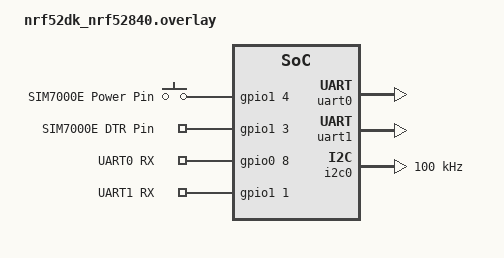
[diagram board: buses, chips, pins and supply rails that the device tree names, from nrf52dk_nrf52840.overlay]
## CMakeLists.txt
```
# SPDX-License-Identifier: Apache-2.0

cmake_minimum_required(VERSION 3.20.0)

find_package(Zephyr REQUIRED HINTS $ENV{ZEPHYR_BASE})

project(echo_bot)

target_include_directories(app PRIVATE "include")

if (CONFIG_UART_0_ENABLE OR CONFIG_UART_1_ENABLE)
    target_sources(app PRIVATE 
        "include/uart/uart.hpp"
        "src/uart/uart.cpp")
endif()

if(CONFIG_UART_0_ENABLE)
    target_sources(app PRIVATE 
        "src/uart/uart0.cpp" 
        "include/uart/uart0.hpp")
endif()

if(CONFIG_UART_1_ENABLE)
    target_sources(app PRIVATE 
        "src/uart/uart1.cpp" 
        "include/uart/uart1.hpp")
endif()


target_sources(app PRIVATE
    "src/memory_retention/retained.c"
    "include/memory_retention/retained.h"

    "src/main.cpp"
)
```

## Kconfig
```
# Copyright (c) 2021 Nordic Semiconductor ASA
# SPDX-License-Identifier: Apache-2.0

mainmenu "echo_bot_demo"

choice
	prompt "Use retention"
	optional

config APP_USE_NRF_RETENTION
	bool "Use state retention in system off using nRF POWER"
	depends on SOC_COMPATIBLE_NRF52X && CRC
	help
	  On some Nordic chips this application supports retaining
	  memory while in system off using POWER peripheral.
	  Select this to enable the feature.

config APP_USE_RETAINED_MEM
	bool "Use state retention in system off using retained_mem driver"
	depends on RETAINED_MEM

endchoice


config UART_1_ENABLE
    bool "Enable UART 1 driver"
    depends on UART_INTERRUPT_DRIVEN && UART_USE_RUNTIME_CONFIGURE && GPIO && PM_DEVICE && POLL
    help
      Enable the UART 1 driver for communication. This option is only
      available if both interrupt-driven UART and runtime configuration
      for UART are enabled.

config UART_0_ENABLE
    bool "Enable UART 0 driver"
    depends on UART_INTERRUPT_DRIVEN && UART_USE_RUNTIME_CONFIGURE && GPIO && PM_DEVICE && POLL
    help
      Enable the UART 0 driver for communication. This option is only
      available if both interrupt-driven UART and runtime configuration
      for UART are enabled.

source "Kconfig.zephyr"
```

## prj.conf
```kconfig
# configure language supprot and functions
CONFIG_CPP=y
CONFIG_REQUIRES_FULL_LIBCPP=y
CONFIG_STD_CPP20=y
CONFIG_REQUIRES_FULL_LIBC=y

CONFIG_SERIAL=y

# configuring uart
CONFIG_UART_0_ENABLE=y
CONFIG_UART_1_ENABLE=y
CONFIG_UART_INTERRUPT_DRIVEN=y
CONFIG_UART_USE_RUNTIME_CONFIGURE=y

# retention
CONFIG_APP_USE_NRF_RETENTION=y
# CONFIG_APP_USE_RETAINED_MEM=y
CONFIG_CRC=y

# enable uart for measuring power consumption and waking modules up
CONFIG_GPIO=y
CONFIG_PM_DEVICE=y
CONFIG_POWEROFF=y

# enable i2c for communication with real time clock
CONFIG_I2C=y

# we enable poll for working with uart
# this allows for efficient use of message queues
CONFIG_POLL=y

# configure the default stack size
# wee store most data on the stack
CONFIG_MAIN_STACK_SIZE=4096

# configure available time functions
CONFIG_POSIX_CLOCK=y

# configure logging via rtt
CONFIG_LOG=y
CONFIG_LOG_BACKEND_RTT=y
CONFIG_LOG_MODE_DEFERRED=y
CONFIG_LOG_PRINTK=y
CONFIG_USE_SEGGER_RTT=y
CONFIG_UART_CONSOLE=n
```

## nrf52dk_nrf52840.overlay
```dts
&uart0 {
    status = "okay";
};
&uart1 {
    status = "okay";
};

&gpio0 {
    status = "okay";
};

&gpio1 {
    status = "okay";
};

&i2c0 {
    compatible = "nordic,nrf-twim";
    clock-frequency = <100000>;
    status = "okay";
};
/{
    custom_gpios {

        compatible = "gpio-keys";

        sim7000e_power: sim7000e_0 {
            gpios = <&gpio1 4 GPIO_ACTIVE_HIGH>;
            label = "SIM7000E Power Pin";
        };

        sim7000e_dtr: sim7000e_1 {
            gpios = <&gpio1 3 GPIO_ACTIVE_HIGH>;
            label = "SIM7000E DTR Pin";
        };

        uart0_rx: uart0_rx {
            gpios = <&gpio0 8 GPIO_ACTIVE_HIGH>;
            label = "UART0 RX";
        };

        uart1_rx: uart1_rx {
            gpios = <&gpio1 1 GPIO_ACTIVE_HIGH>;
            label = "UART1 RX";
        };
    };

    aliases {
        sim7000epower = &sim7000e_power;
        sim7000edtr = &sim7000e_dtr;
        uart0rx = &uart0_rx;
        uart1rx = &uart1_rx;
    };
};

&mx25r64 {
    status = "disabled";
};
```

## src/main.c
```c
/*
 * Copyright (c) 2022 Libre Solar Technologies GmbH
 *
 * SPDX-License-Identifier: Apache-2.0
 */

#include <zephyr/kernel.h>
#include <zephyr/device.h>

#include <zephyr/drivers/uart.h>

#include <string.h>

/* change this to any other UART peripheral if desired */
#define UART_DEVICE_NODE DT_CHOSEN(zephyr_shell_uart)
#define UART1_DEVICE_NODE DT_NODELABEL(uart1)

#define MSG_SIZE 32

/* queue to store up to 10 messages (aligned to 4-byte boundary) */
K_MSGQ_DEFINE(uart_msgq, MSG_SIZE, 10, 4);
K_MSGQ_DEFINE(uart1_msgq, MSG_SIZE, 10, 4);

static const struct device *const uart_dev = DEVICE_DT_GET(UART_DEVICE_NODE);
static const struct device *const uart1_dev = DEVICE_DT_GET(UART1_DEVICE_NODE);

/* receive buffer used in UART ISR callback */
static char rx_buf[MSG_SIZE];
static int rx_buf_pos;

static char rx1_buf[MSG_SIZE];
static int rx1_buf_pos;

/*
 * Read characters from UART until line end is detected. Afterwards push the
 * data to the message queue.
 */
void serial_cb0(const struct device *dev, void *user_data)
{
	uint8_t c;

	if (!uart_irq_update(uart_dev)) {
		return;
	}

	if (!uart_irq_rx_ready(uart_dev)) {
		return;
	}

	/* read until FIFO empty */
	while (uart_fifo_read(uart_dev, &c, 1) == 1) {
		if ((c == '\n' || c == '\r') && rx_buf_pos > 0) {
			/* terminate string */
			rx_buf[rx_buf_pos] = '\0';

			/* if queue is full, message is silently dropped */
			k_msgq_put(&uart_msgq, &rx_buf, K_NO_WAIT);

			/* reset the buffer (it was copied to the msgq) */
			rx_buf_pos = 0;
		} else if (rx_buf_pos < (sizeof(rx_buf) - 1)) {
			rx_buf[rx_buf_pos++] = c;
		}
		/* else: characters beyond buffer size are dropped */
	}
}

/*
 * Read characters from UART until line end is detected. Afterwards push the
 * data to the message queue.
 */
void serial_cb1(const struct device *dev, void *user_data)
{
	uint8_t c;

	if (!uart_irq_update(uart1_dev)) {
		return;
	}

	if (!uart_irq_rx_ready(uart1_dev)) {
		return;
	}

	/* read until FIFO empty */
	while (uart_fifo_read(uart1_dev, &c, 1) == 1) {
		if ((c == '\n' || c == '\r') && rx1_buf_pos > 0) {
			/* terminate string */
			rx1_buf[rx1_buf_pos] = '\0';

			/* if queue is full, message is silently dropped */
			k_msgq_put(&uart1_msgq, &rx1_buf, K_NO_WAIT);

			/* reset the buffer (it was copied to the msgq) */
			rx1_buf_pos = 0;
		} else if (rx1_buf_pos < (sizeof(rx1_buf) - 1)) {
			rx1_buf[rx1_buf_pos++] = c;
		}
		/* else: characters beyond buffer size are dropped */
	}
}

/*
 * Print a null-terminated string character by character to the UART interface
 */
void print_uart0(char *buf)
{
	int msg_len = strlen(buf);

	for (int i = 0; i < msg_len; i++) {
		uart_poll_out(uart_dev, buf[i]);
	}
}

void print_uart1(char *buf)
{
	int msg_len = strlen(buf);

	for (int i = 0; i < msg_len; i++) {
		uart_poll_out(uart1_dev, buf[i]);
	}
}
struct k_poll_event events[2];
int main(void)
{
	char tx_buf[MSG_SIZE];

	if (!device_is_ready(uart_dev)) {
		printk("UART device not found!");
		return 0;
	}

	if (!device_is_ready(uart1_dev)) {
		printk("UART1 device not found!");
		return 0;
	}

	/* configure interrupt and callback to receive data */
	int ret = uart_irq_callback_user_data_set(uart_dev, serial_cb0, NULL);

	if (ret < 0) {
		if (ret == -ENOTSUP) {
			printk("Interrupt-driven UART API support not enabled\n");
		} else if (ret == -ENOSYS) {
			printk("UART device does not support interrupt-driven API\n");
		} else {
			printk("Error setting UART callback: %d\n", ret);
		}
		return 0;
	}
	uart_irq_rx_enable(uart_dev);

	/* configure interrupt and callback to receive data */
	ret = uart_irq_callback_user_data_set(uart1_dev, serial_cb1, NULL);

	if (ret < 0) {
		if (ret == -ENOTSUP) {
			printk("Interrupt-driven UART API support not enabled\n");
		} else if (ret == -ENOSYS) {
			printk("UART device does not support interrupt-driven API\n");
		} else {
			printk("Error setting UART callback: %d\n", ret);
		}
		return 0;
	}
	uart_irq_rx_enable(uart1_dev);

	print_uart0("Hello! I'm your echo bot.\r\n");
	print_uart0("Tell me something and press enter:\r\n");

	k_poll_event_init(&events[0],
					K_POLL_TYPE_MSGQ_DATA_AVAILABLE,
					K_POLL_MODE_NOTIFY_ONLY,
					&uart_msgq);

	k_poll_event_init(&events[1],
					K_POLL_TYPE_MSGQ_DATA_AVAILABLE,
					K_POLL_MODE_NOTIFY_ONLY,
					&uart1_msgq);

	while (1) {
		int rc = k_poll(events, ARRAY_SIZE(events), K_FOREVER);
		if (rc == 0) {
			if (events[0].state == K_POLL_STATE_MSGQ_DATA_AVAILABLE) {
				ret = k_msgq_get(&uart_msgq, &tx_buf, K_NO_WAIT);
				// handle data
			} else if (events[1].state == K_POLL_STATE_MSGQ_DATA_AVAILABLE) {
				ret = k_msgq_get(&uart1_msgq, &tx_buf, K_NO_WAIT);
				// handle data
			}

			print_uart0("Echo: ");
			print_uart0(tx_buf);
			print_uart0("\n");
			print_uart1("Echo: ");
			print_uart1(tx_buf);
			print_uart1("\n");

			events[0].state = K_POLL_STATE_NOT_READY;
        	events[1].state = K_POLL_STATE_NOT_READY;
		}else {
        // handle timeout
    	}

    }

	return 0;
}
```

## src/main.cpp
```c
#include <zephyr/kernel.h>
#include <zephyr/device.h>
#include <zephyr/logging/log.h>

#include "uart/uart0.hpp"
#include "uart/uart1.hpp"

LOG_MODULE_REGISTER(main);
uart::uart0::uart0_implementation uart0_driver = uart::uart0::uart0_implementation();
uart::uart1::uart1_implementation uart1_driver = uart::uart1::uart1_implementation();
uart::uart_driver *device = &uart0_driver;

int main(void)
{
	if (uart::uart1::uart_init() != 0)
	{
		LOG_ERR("UART initialization failed\n");
		return -1;
	}

	int rc;

	uart::uart1::sleep();

	// initialize the abstraction and driver
	if (uart::uart0::uart_init() != 0)
	{
		LOG_ERR("UART initialization failed\n");
		return -1;
	}

	// we can change the baudrate
	rc = uart::uart0::change_baudrate(uart::baudrate::Baud9600);

	if (rc != 0)
	{
		LOG_ERR("Could not change baudrate: %d\n", rc);
		return -1;
	}

	bool sleep = false;

	while (true)
	{
		// we manually put the module to sleep.
		// we can not send data now except we continue with uart::uart0::wakeup
		// the driver autoresumes when there is activity on the bus
		// no state management
		if (sleep)
		{
			uart::uart0::sleep();
		}

		std::string rx_data;
		// read available data on the bus
		if (uart::uart0::uart_read(rx_data, K_FOREVER) == uart::UART_READ_OK)
		{
			if(rx_data.starts_with("sleep")){
				sleep = true;
			}
			if(rx_data.starts_with("wakeup")){
				sleep = false;
			}
		}
	}

	return 0;
}
```
